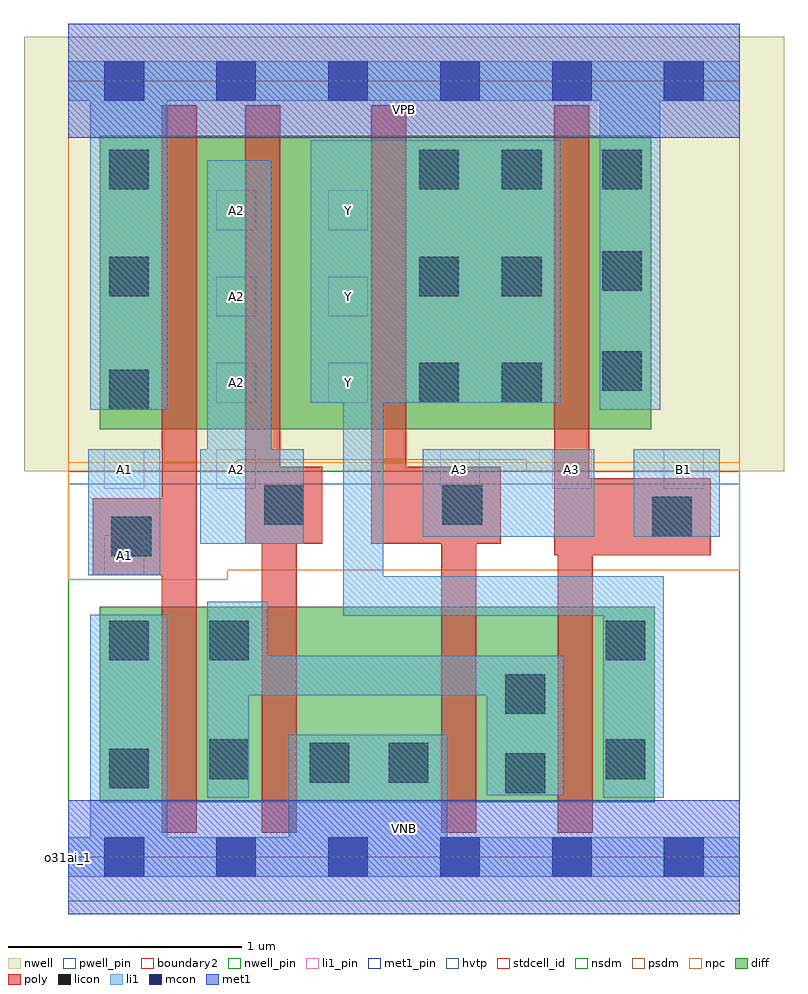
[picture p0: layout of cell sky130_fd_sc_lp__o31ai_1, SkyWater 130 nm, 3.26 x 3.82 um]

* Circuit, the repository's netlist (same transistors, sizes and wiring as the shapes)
* Copyright 2020 The SkyWater PDK Authors
*
* Licensed under the Apache License, Version 2.0 (the "License");
* you may not use this file except in compliance with the License.
* You may obtain a copy of the License at
*
*     https://www.apache.org/licenses/LICENSE-2.0
*
* Unless required by applicable law or agreed to in writing, software
* distributed under the License is distributed on an "AS IS" BASIS,
* WITHOUT WARRANTIES OR CONDITIONS OF ANY KIND, either express or implied.
* See the License for the specific language governing permissions and
* limitations under the License.
*
* SPDX-License-Identifier: Apache-2.0

.SUBCKT sky130_fd_sc_lp__o31ai_1 A1 A2 A3 B1 VGND VNB VPB VPWR Y
*.PININFO A1:I A2:I A3:I B1:I VGND:I VNB:I VPB:I VPWR:I Y:O
MMPA0 VPWR A1 sndA1 VPB sky130_fd_pr__pfet_01v8_hvt m=1 w=1.26U l=0.15U mult=1
+ sa=0.265 sb=0.265 sd=0.28 area=0.063 perim=1.14
MMPA1 sndA1 A2 sndA2 VPB sky130_fd_pr__pfet_01v8_hvt m=1 w=1.26U l=0.15U mult=1
+ sa=0.265 sb=0.265 sd=0.28 area=0.063 perim=1.14
MMPA2 sndA2 A3 Y VPB sky130_fd_pr__pfet_01v8_hvt m=1 w=1.26U l=0.15U mult=1 sa=0.265
+ sb=0.265 sd=0.28 area=0.063 perim=1.14
MMPB0 VPWR B1 Y VPB sky130_fd_pr__pfet_01v8_hvt m=1 w=1.26U l=0.15U mult=1 sa=0.265
+ sb=0.265 sd=0.28 area=0.063 perim=1.14
MMNA0 pndA A1 VGND VNB sky130_fd_pr__nfet_01v8 m=1 w=0.84U l=0.15U mult=1 sa=0.265
+ sb=0.265 sd=0.28 area=0.063 perim=1.14
MMNA1 pndA A2 VGND VNB sky130_fd_pr__nfet_01v8 m=1 w=0.84U l=0.15U mult=1 sa=0.265
+ sb=0.265 sd=0.28 area=0.063 perim=1.14
MMNA2 pndA A3 VGND VNB sky130_fd_pr__nfet_01v8 m=1 w=0.84U l=0.15U mult=1 sa=0.265
+ sb=0.265 sd=0.28 area=0.063 perim=1.14
MMNB0 Y B1 pndA VNB sky130_fd_pr__nfet_01v8 m=1 w=0.84U l=0.15U mult=1 sa=0.265
+ sb=0.265 sd=0.28 area=0.063 perim=1.14
.ENDS sky130_fd_sc_lp__o31ai_1

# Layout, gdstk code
import gdstk
lib = gdstk.Library(unit=1e-6, precision=1e-09)
def R(c, l, rs):  # rectangles x0, y0, x1, y1
    for r in rs: c.add(gdstk.rectangle(r[:2], r[2:], *l))
def A(c, l, x, y, w, h, nx, ny, dx, dy):  # array of equal rectangles
    R(c, l, [(x+i*dx, y+j*dy, x+i*dx+w, y+j*dy+h) for i in range(nx) for j in range(ny)])
def P(c, l, *ps):  # polygons
    for p in ps: c.add(gdstk.Polygon(p, *l))
nwell_pin = (64, 16)
nwell = (64, 20)
diff = (65, 20)
poly = (66, 20)
licon = (66, 44)
li1_pin = (67, 16)
li1 = (67, 20)
mcon = (67, 44)
met1_pin = (68, 16)
met1 = (68, 20)
hvtp = (78, 44)
stdcell_id = (81, 4)
nsdm = (93, 44)
psdm = (94, 20)
npc = (95, 20)
pwell_pin = (122, 16)
boundary2 = (236, 0)

sky130_fd_sc_lp__o31ai_1 = lib.new_cell('sky130_fd_sc_lp__o31ai_1')
R(sky130_fd_sc_lp__o31ai_1, nwell_pin, [(0,3.085,2.88,3.33)])
R(sky130_fd_sc_lp__o31ai_1, nwell, [(-0.19,1.655,3.07,3.52)])
R(sky130_fd_sc_lp__o31ai_1, diff, [(0.135,0.235,2.515,1.075), (0.135,1.835,2.5,3.095)])
P(sky130_fd_sc_lp__o31ai_1, poly, [(0.55,3.225),(0.4,3.225),(0.4,1.54),(0.105,1.54),(0.105,1.21),(0.4,1.21),(0.4,0.105),(0.55,0.105)],
  [(1.09,1.675),(0.91,1.675),(0.91,3.225),(0.76,3.225),(0.76,1.345),(0.83,1.345),(0.83,0.105),(0.98,0.105),(0.98,1.345),(1.09,1.345)],
  [(1.855,1.675),(1.45,1.675),(1.45,3.225),(1.3,3.225),(1.3,1.345),(1.6,1.345),(1.6,0.105),(1.75,0.105),(1.75,1.345),(1.855,1.345)],
  [(2.755,1.625),(2.235,1.625),(2.235,3.225),(2.085,3.225),(2.085,1.295),(2.1,1.295),(2.1,0.105),(2.25,0.105),(2.25,1.295),(2.755,1.295)])
R(sky130_fd_sc_lp__o31ai_1, licon, [(1.875,0.275,2.045,0.445), (0.175,0.295,0.345,0.465), (1.035,0.32,1.205,0.49), (1.375,0.32,1.545,0.49), (0.605,0.335,0.775,0.505), (2.305,0.335,2.475,0.505), (1.875,0.615,2.045,0.785), (0.175,0.845,0.345,1.015), (0.605,0.845,0.775,1.015), (2.305,0.845,2.475,1.015), (0.185,1.29,0.355,1.46), (2.505,1.375,2.675,1.545), (0.84,1.425,1.01,1.595), (1.605,1.425,1.775,1.595), (0.175,1.92,0.345,2.09), (1.505,1.95,1.675,2.12), (1.86,1.95,2.03,2.12), (2.29,2,2.46,2.17), (0.175,2.405,0.345,2.575), (1.505,2.405,1.675,2.575), (1.86,2.405,2.03,2.575), (2.29,2.43,2.46,2.6), (0.175,2.865,0.345,3.035), (1.505,2.865,1.675,3.035), (1.86,2.865,2.03,3.035), (2.29,2.865,2.46,3.035)])
A(sky130_fd_sc_lp__o31ai_1, li1_pin, 0.635, 1.58, 0.17, 0.17, 1, 4, 0, 0.37)
A(sky130_fd_sc_lp__o31ai_1, li1_pin, 1.595, 1.58, 0.17, 0.17, 3, 1, 0.48, 0)
A(sky130_fd_sc_lp__o31ai_1, li1_pin, 1.115, 1.95, 0.17, 0.17, 1, 3, 0, 0.37)
R(sky130_fd_sc_lp__o31ai_1, li1_pin, [(0.155,1.21,0.325,1.38), (0.155,1.58,0.325,1.75)])
R(sky130_fd_sc_lp__o31ai_1, li1, [(0.085,1.21,0.395,1.75), (1.52,1.375,2.255,1.75), (2.425,1.375,2.795,1.75)])
P(sky130_fd_sc_lp__o31ai_1, li1, [(1.01,1.75),(0.87,1.75),(0.87,2.99),(0.595,2.99),(0.595,1.75),(0.565,1.75),(0.565,1.345),(1.01,1.345)],
  [(2.125,0.865),(0.855,0.865),(0.855,1.095),(0.595,1.095),(0.595,0.255),(0.775,0.255),(0.775,0.695),(1.795,0.695),(1.795,0.265),(2.125,0.265)],
  [(2.555,1.205),(1.35,1.205),(1.35,1.95),(2.11,1.95),(2.11,3.075),(1.04,3.075),(1.04,1.95),(1.18,1.95),(1.18,1.035),(2.295,1.035),(2.295,0.255),(2.555,0.255)],
  [(2.88,3.415),(0,3.415),(0,3.245),(0.095,3.245),(0.095,1.92),(0.425,1.92),(0.425,3.245),(2.28,3.245),(2.28,1.92),(2.54,1.92),(2.54,3.245),(2.88,3.245)],
  [(2.88,0.085),(1.625,0.085),(1.625,0.525),(0.945,0.525),(0.945,0.085),(0.425,0.085),(0.425,1.04),(0.095,1.04),(0.095,0.085),(0,0.085),(0,-0.085),(2.88,-0.085)])
A(sky130_fd_sc_lp__o31ai_1, mcon, 0.155, -0.085, 0.17, 0.17, 6, 2, 0.48, 3.33)
R(sky130_fd_sc_lp__o31ai_1, met1_pin, [(0,0,2.88,0.245), (0,3.085,2.88,3.33)])
R(sky130_fd_sc_lp__o31ai_1, met1, [(0,-0.245,2.88,0.245), (0,3.085,2.88,3.575)])
R(sky130_fd_sc_lp__o31ai_1, hvtp, [(0,1.6,2.88,3.33)])
R(sky130_fd_sc_lp__o31ai_1, stdcell_id, [(0,0,2.88,3.33)])
R(sky130_fd_sc_lp__o31ai_1, nsdm, [(0,-0.19,2.88,1.655)])
P(sky130_fd_sc_lp__o31ai_1, psdm, [(2.88,3.52),(0,3.52),(0,1.655),(0.725,1.655),(0.725,1.705),(1.965,1.705),(1.965,1.655),(2.88,1.655)])
P(sky130_fd_sc_lp__o31ai_1, npc, [(2.88,1.695),(0,1.695),(0,1.19),(0.685,1.19),(0.685,1.23),(2.88,1.23)])
R(sky130_fd_sc_lp__o31ai_1, pwell_pin, [(0,0,2.88,0.245)])
R(sky130_fd_sc_lp__o31ai_1, boundary2, [(0,0,2.88,3.33)])
sky130_fd_sc_lp__o31ai_1.add(gdstk.Label('VNB', (1.44,0.123), layer=64, texttype=59))
sky130_fd_sc_lp__o31ai_1.add(gdstk.Label('VPB', (1.44,3.208), layer=64, texttype=5))
sky130_fd_sc_lp__o31ai_1.add(gdstk.Label('o31ai_1', (0,0), layer=83, texttype=44))
sky130_fd_sc_lp__o31ai_1.add(gdstk.Label('VPWR', (1.44,3.208), layer=68, texttype=5))
sky130_fd_sc_lp__o31ai_1.add(gdstk.Label('VGND', (1.44,0.123), layer=68, texttype=5))
sky130_fd_sc_lp__o31ai_1.add(gdstk.Label('A2', (0.72,1.665), layer=67, texttype=5))
sky130_fd_sc_lp__o31ai_1.add(gdstk.Label('A3', (1.68,1.665), layer=67, texttype=5))
sky130_fd_sc_lp__o31ai_1.add(gdstk.Label('Y', (1.2,2.035), layer=67, texttype=5))
sky130_fd_sc_lp__o31ai_1.add(gdstk.Label('Y', (1.2,2.405), layer=67, texttype=5))
sky130_fd_sc_lp__o31ai_1.add(gdstk.Label('Y', (1.2,2.775), layer=67, texttype=5))
sky130_fd_sc_lp__o31ai_1.add(gdstk.Label('A1', (0.24,1.295), layer=67, texttype=5))
sky130_fd_sc_lp__o31ai_1.add(gdstk.Label('A1', (0.24,1.665), layer=67, texttype=5))
sky130_fd_sc_lp__o31ai_1.add(gdstk.Label('B1', (2.64,1.665), layer=67, texttype=5))
sky130_fd_sc_lp__o31ai_1.add(gdstk.Label('A2', (0.72,2.775), layer=67, texttype=5))
sky130_fd_sc_lp__o31ai_1.add(gdstk.Label('A2', (0.72,2.405), layer=67, texttype=5))
sky130_fd_sc_lp__o31ai_1.add(gdstk.Label('A2', (0.72,2.035), layer=67, texttype=5))
sky130_fd_sc_lp__o31ai_1.add(gdstk.Label('A3', (2.16,1.665), layer=67, texttype=5))

lib.write_gds('sky130_fd_sc_lp__o31ai_1.gds')
